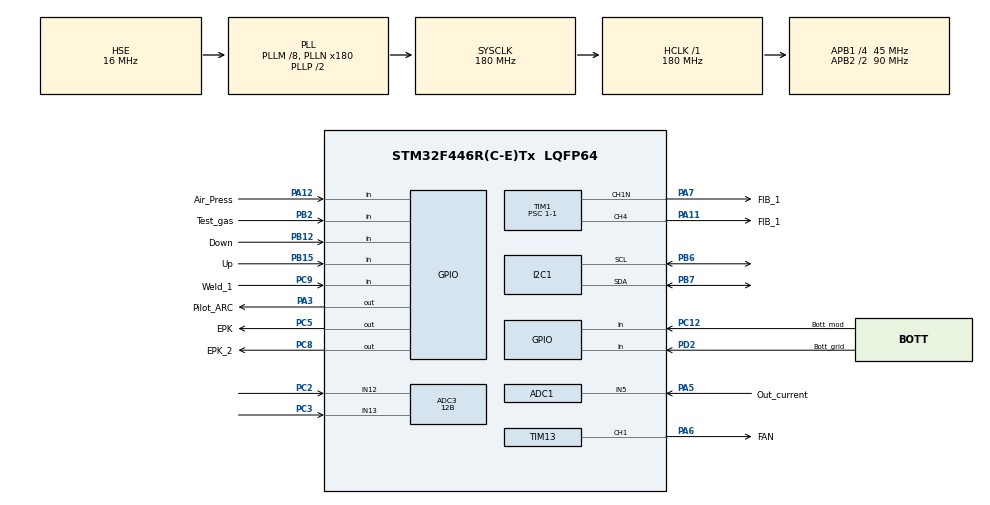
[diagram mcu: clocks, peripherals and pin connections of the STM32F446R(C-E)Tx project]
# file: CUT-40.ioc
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ADC1.Channel-5\#ChannelRegularConversion=ADC_CHANNEL_5
ADC1.ClockPrescaler=ADC_CLOCK_SYNC_PCLK_DIV4
ADC1.ContinuousConvMode=DISABLE
ADC1.DMAContinuousRequests=DISABLE
ADC1.DataAlign=ADC_DATAALIGN_RIGHT
ADC1.DiscontinuousConvMode=DISABLE
ADC1.EOCSelection=ADC_EOC_SINGLE_CONV
ADC1.EnableAnalogWatchDog=false
ADC1.ExternalTrigConvEdge=ADC_EXTERNALTRIGCONVEDGE_NONE
ADC1.InjNumberOfConversion=0
ADC1.NbrOfConversion=1
ADC1.NbrOfConversionFlag=1
ADC1.Rank-5\#ChannelRegularConversion=1
ADC1.Resolution=ADC_RESOLUTION_12B
ADC1.SamplingTime-5\#ChannelRegularConversion=ADC_SAMPLETIME_3CYCLES
ADC1.ScanConvMode=ENABLE
ADC1.master=1
ADC3.Channel-0\#ChannelRegularConversion=ADC_CHANNEL_12
ADC3.Channel-2\#ChannelInjectedConversion=ADC_CHANNEL_12
ADC3.Channel-3\#ChannelInjectedConversion=ADC_CHANNEL_13
ADC3.ClockPrescaler=ADC_CLOCK_SYNC_PCLK_DIV4
ADC3.ContinuousConvMode=DISABLE
ADC3.DMAContinuousRequests=DISABLE
ADC3.DataAlign=ADC_DATAALIGN_RIGHT
ADC3.DiscontinuousConvMode=DISABLE
ADC3.EOCSelection=ADC_EOC_SINGLE_CONV
ADC3.EnableAnalogWatchDog=false
ADC3.ExternalTrigConvEdge=ADC_EXTERNALTRIGCONVEDGE_NONE
ADC3.InjNumberOfConversion=2
ADC3.InjectedOffset-2\#ChannelInjectedConversion=0
ADC3.InjectedOffset-3\#ChannelInjectedConversion=0
ADC3.NbrOfConversion=1
ADC3.NbrOfConversionFlag=1
ADC3.Rank-0\#ChannelRegularConversion=1
ADC3.Rank-2\#ChannelInjectedConversion=1
ADC3.Rank-3\#ChannelInjectedConversion=2
ADC3.Resolution=ADC_RESOLUTION_12B
ADC3.SamplingTime-0\#ChannelRegularConversion=ADC_SAMPLETIME_3CYCLES
ADC3.SamplingTime-2\#ChannelInjectedConversion=ADC_SAMPLETIME_3CYCLES
ADC3.SamplingTime-3\#ChannelInjectedConversion=ADC_SAMPLETIME_3CYCLES
ADC3.ScanConvMode=ENABLE
I2C1.I2C_Mode=I2C_Fast
Mcu.Family=STM32F4
Mcu.Name=STM32F446R(C-E)Tx
Mcu.Package=LQFP64
NVIC.PriorityGroup=NVIC_PRIORITYGROUP_4
NVIC.TIM1_CC_IRQn=true\:0\:0\:false\:false\:true\:true
NVIC.TIM1_TRG_COM_TIM11_IRQn=true\:0\:0\:false\:false\:true\:true
NVIC.TIM4_IRQn=true\:0\:0\:false\:false\:true\:true
NVIC.TIM6_DAC_IRQn=true\:0\:0\:false\:false\:true\:true
PA11.GPIO_Label=FIB_1
PA11.Signal=S_TIM1_CH4
PA12.GPIO_Label=Air_Press
PA12.GPIO_PuPd=GPIO_PULLUP
PA12.Signal=GPIO_Input
PA13.Mode=Serial_Wire
PA13.Signal=SYS_JTMS-SWDIO
PA14.Mode=Serial_Wire
PA14.Signal=SYS_JTCK-SWCLK
PA3.GPIO_Label=Pilot_ARC
PA3.GPIO_PuPd=GPIO_PULLDOWN
PA3.Signal=GPIO_Output
PA5.GPIO_Label=Out_current
PA5.Signal=ADCx_IN5
PA6.GPIO_Label=FAN
PA6.Signal=S_TIM13_CH1
PA7.GPIO_Label=FIB_1
PA7.Mode=PWM Generation1 CH1N
PA7.Signal=TIM1_CH1N
PB12.GPIO_Label=Down
PB12.Signal=GPIO_Input
PB15.GPIO_Label=Up
PB15.Signal=GPIO_Input
PB2.GPIO_Label=Test_gas
PB2.Signal=GPIO_Input
PB6.Mode=I2C
PB6.Signal=I2C1_SCL
PB7.Mode=I2C
PB7.Signal=I2C1_SDA
PC12.GPIO_Label=Bott_mod
PC12.GPIO_PuPd=GPIO_PULLUP
PC12.Signal=GPIO_Input
PC2.Signal=ADCx_IN12
PC3.Signal=ADCx_IN13
PC5.GPIO_Label=EPK
PC5.GPIO_PuPd=GPIO_PULLDOWN
PC5.Signal=GPIO_Output
PC8.GPIO_Label=EPK_2
PC8.GPIO_PuPd=GPIO_PULLDOWN
PC8.Signal=GPIO_Output
PC9.GPIO_Label=Weld_1
PC9.GPIO_PuPd=GPIO_PULLUP
PC9.Signal=GPIO_Input
PD2.GPIO_Label=Bott_grid
PD2.GPIO_PuPd=GPIO_PULLUP
PD2.Signal=GPIO_Input
PH0-OSC_IN.Mode=HSE-External-Oscillator
PH0-OSC_IN.Signal=RCC_OSC_IN
PH1-OSC_OUT.Mode=HSE-External-Oscillator
PH1-OSC_OUT.Signal=RCC_OSC_OUT
ProjectManager.HeapSize=0x200
ProjectManager.StackSize=0x400
ProjectManager.TargetToolchain=MDK-ARM V5
RCC.AHBFreq_Value=180000000
RCC.APB1CLKDivider=RCC_HCLK_DIV4
RCC.APB1Freq_Value=45000000
RCC.APB1TimFreq_Value=90000000
RCC.APB2CLKDivider=RCC_HCLK_DIV2
RCC.APB2Freq_Value=90000000
RCC.APB2TimFreq_Value=180000000
RCC.CortexFreq_Value=180000000
RCC.HCLKFreq_Value=180000000
RCC.HSE_VALUE=16000000
RCC.LSE_VALUE=32000
RCC.PLLM=8
RCC.PLLN=180
RCC.PLLSourceVirtual=RCC_PLLSOURCE_HSE
RCC.RCC_RTC_Clock_SourceVirtual=RCC_RTCCLKSOURCE_HSE_DIV2
RCC.SYSCLKFreq_VALUE=180000000
RCC.SYSCLKSource=RCC_SYSCLKSOURCE_PLLCLK
RCC.USBFreq_Value=180000000
RCC.VCOOutputFreq_Value=360000000
SH.ADCx_IN12.0=ADC3_IN12,IN12
SH.ADCx_IN13.0=ADC3_IN13,IN13
SH.ADCx_IN5.0=ADC1_IN5,IN5
SH.S_TIM13_CH1.0=TIM13_CH1,PWM Generation1 CH1
SH.S_TIM1_CH4.0=TIM1_CH4,PWM Generation4 CH4
TIM1.Channel-PWM\ Generation1\ CH1N=TIM_CHANNEL_1
TIM1.Channel-PWM\ Generation4\ CH4=TIM_CHANNEL_4
TIM1.CounterMode=TIM_COUNTERMODE_CENTERALIGNED1
TIM1.OCMode_PWM-PWM\ Generation1\ CH1N=TIM_OCMODE_PWM2
TIM1.Period=1800-1
TIM1.Prescaler=1-1
TIM1.TIM_MasterOutputTrigger=TIM_TRGO_UPDATE
TIM13.Channel=TIM_CHANNEL_1
TIM13.Period=1000
TIM13.Prescaler=40
TIM4.Period=10000
TIM4.Prescaler=4500
TIM6.Period=10000
TIM6.Prescaler=4500
VP_TIM13_VS_ClockSourceINT.Mode=Enable_Timer
VP_TIM4_VS_ClockSourceINT.Mode=Internal
VP_TIM6_VS_ClockSourceINT.Mode=Enable_Timer
board=ADI-315PAC_1.0

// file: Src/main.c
/**
  ******************************************************************************
  * @file           : main.c
  * @brief          : Main program body
  ******************************************************************************
  ** This notice applies to any and all portions of this file
  * that are not between comment pairs USER CODE BEGIN and
  * USER CODE END. Other portions of this file, whether
  * inserted by the user or by software development tools
  * are owned by their respective copyright owners.
  *
  * COPYRIGHT(c) 2023 STMicroelectronics
  *
  * Redistribution and use in source and binary forms, with or without modification,
  * are permitted provided that the following conditions are met:
  *   1. Redistributions of source code must retain the above copyright notice,
  *      this list of conditions and the following disclaimer.
  *   2. Redistributions in binary form must reproduce the above copyright notice,
  *      this list of conditions and the following disclaimer in the documentation
  *      and/or other materials provided with the distribution.
  *   3. Neither the name of STMicroelectronics nor the names of its contributors
  *      may be used to endorse or promote products derived from this software
  *      without specific prior written permission.
  *
  * THIS SOFTWARE IS PROVIDED BY THE COPYRIGHT HOLDERS AND CONTRIBUTORS "AS IS"
  * AND ANY EXPRESS OR IMPLIED WARRANTIES, INCLUDING, BUT NOT LIMITED TO, THE
  * IMPLIED WARRANTIES OF MERCHANTABILITY AND FITNESS FOR A PARTICULAR PURPOSE ARE
  * DISCLAIMED. IN NO EVENT SHALL THE COPYRIGHT HOLDER OR CONTRIBUTORS BE LIABLE
  * FOR ANY DIRECT, INDIRECT, INCIDENTAL, SPECIAL, EXEMPLARY, OR CONSEQUENTIAL
  * DAMAGES (INCLUDING, BUT NOT LIMITED TO, PROCUREMENT OF SUBSTITUTE GOODS OR
  * SERVICES; LOSS OF USE, DATA, OR PROFITS; OR BUSINESS INTERRUPTION) HOWEVER
  * CAUSED AND ON ANY THEORY OF LIABILITY, WHETHER IN CONTRACT, STRICT LIABILITY,
  * OR TORT (INCLUDING NEGLIGENCE OR OTHERWISE) ARISING IN ANY WAY OUT OF THE USE
  * OF THIS SOFTWARE, EVEN IF ADVISED OF THE POSSIBILITY OF SUCH DAMAGE.
  *
  ******************************************************************************
  */
#include "main.h"
#include "stm32f4xx_hal.h"
#include "adc.h"
#include "i2c.h"
#include "tim.h"
#include "gpio.h"

/* USER CODE BEGIN Includes */
#include "lcd.h"
#include "Butt_hand.h"
#include "Lcd_func.h"
#include "tech_process.h"
#include "Other_func.h"
//test commit

/* USER CODE END Includes */

/* USER CODE BEGIN PV */
	uint16_t namber_par_weld;
	uint16_t language=0;    // 0>>UA  1>>RU  2>>EN

	// LCD lable flag

	uint16_t TemprHIDE_lable_flag=0;
	uint16_t LOW_presure_lable_flag=0;
  uint16_t Torch_Error_lable_flag=0;
  uint16_t Cut_Grid_lable_flag=0; // 1>>CUT 0>>GRID
  uint16_t PULSE=100;

  uint16_t cut [CUT_PAR_QUANITY] = {1,0,1}; // CUT parameters

uint32_t B_2;

/* Private variables ---------------------------------------------------------*/
uint32_t cut_but_4t[2] = {0,0};

uint32_t time_dinam_post_flov;
/* USER CODE END PV */

void SystemClock_Config(void);

/* USER CODE BEGIN PFP */
/* Private function prototypes -----------------------------------------------*/

/* USER CODE END PFP */

int main(void)
{

  /* MCU Configuration----------------------------------------------------------*/

  /* Reset of all peripherals, Initializes the Flash interface and the Systick. */
  HAL_Init();

  /* Configure the system clock */
  SystemClock_Config();

  /* Initialize all configured peripherals */
  MX_GPIO_Init();
  MX_ADC1_Init();
  MX_TIM13_Init();
  MX_TIM4_Init();
  MX_TIM6_Init();
  MX_I2C1_Init();
  MX_TIM1_Init();
  MX_ADC3_Init();
  /* USER CODE BEGIN 2 */

   HAL_Delay(100);

	 Lcd_begin_Paton();
	 Switch_language();
   Lcd_static_line();
	 EEprom_Read(cut);

   TIM1->CCR4 = 1800 - 100;// set start pulses
	 TIM1->CCR1 = 100;// set start pulses
	 HAL_TIM_Base_Start(&htim1);// Run base of timer 1

  /* USER CODE END 2 */

  /* Infinite loop */
  while (1)
  {

  /* USER CODE BEGIN 3 */

	B_2=ADC3->JDR1;

	Butt_scan(cut);
	Fix_weld_value();
  Lcd_update (cut);
	Tempr_FANspeed_flagHIDE();

	if (cut[0]==1)  //2T
	 {
		 CUT_2T_procces();
	 }

	if (cut[0]==2)  //4T
	 {
		 CUT_4T_procces();
	 }

   	if ((HAL_GetTick()-time_dinam_post_flov)>(60*1000))
			{
				HAL_GPIO_WritePin(EPK_GPIO_Port,EPK_Pin, GPIO_PIN_RESET);
			}

	 if(HAL_GPIO_ReadPin(Air_Press_GPIO_Port, Air_Press_Pin))
	 {
		 LOW_presure_lable_flag=1;
	 }
	 else
	 {
		 LOW_presure_lable_flag=0;
	 }

  }
  /* USER CODE END 3 */

}

void SystemClock_Config(void)
{

  RCC_OscInitTypeDef RCC_OscInitStruct;
  RCC_ClkInitTypeDef RCC_ClkInitStruct;

    /**Configure the main internal regulator output voltage
    */
  __HAL_RCC_PWR_CLK_ENABLE();

  __HAL_PWR_VOLTAGESCALING_CONFIG(PWR_REGULATOR_VOLTAGE_SCALE1);

    /**Initializes the CPU, AHB and APB busses clocks
    */
  RCC_OscInitStruct.OscillatorType = RCC_OSCILLATORTYPE_HSE;
  RCC_OscInitStruct.HSEState = RCC_HSE_ON;
  RCC_OscInitStruct.PLL.PLLState = RCC_PLL_ON;
  RCC_OscInitStruct.PLL.PLLSource = RCC_PLLSOURCE_HSE;
  RCC_OscInitStruct.PLL.PLLM = 8;
  RCC_OscInitStruct.PLL.PLLN = 180;
  RCC_OscInitStruct.PLL.PLLP = RCC_PLLP_DIV2;
  RCC_OscInitStruct.PLL.PLLQ = 2;
  RCC_OscInitStruct.PLL.PLLR = 2;
  if (HAL_RCC_OscConfig(&RCC_OscInitStruct) != HAL_OK)
  {
    _Error_Handler(__FILE__, __LINE__);
  }

    /**Activate the Over-Drive mode
    */
  if (HAL_PWREx_EnableOverDrive() != HAL_OK)
  {
    _Error_Handler(__FILE__, __LINE__);
  }

    /**Initializes the CPU, AHB and APB busses clocks
    */
  RCC_ClkInitStruct.ClockType = RCC_CLOCKTYPE_HCLK|RCC_CLOCKTYPE_SYSCLK
                              |RCC_CLOCKTYPE_PCLK1|RCC_CLOCKTYPE_PCLK2;
  RCC_ClkInitStruct.SYSCLKSource = RCC_SYSCLKSOURCE_PLLCLK;
  RCC_ClkInitStruct.AHBCLKDivider = RCC_SYSCLK_DIV1;
  RCC_ClkInitStruct.APB1CLKDivider = RCC_HCLK_DIV4;
  RCC_ClkInitStruct.APB2CLKDivider = RCC_HCLK_DIV2;

  if (HAL_RCC_ClockConfig(&RCC_ClkInitStruct, FLASH_LATENCY_5) != HAL_OK)
  {
    _Error_Handler(__FILE__, __LINE__);
  }

    /**Configure the Systick interrupt time
    */
  HAL_SYSTICK_Config(HAL_RCC_GetHCLKFreq()/1000);

    /**Configure the Systick
    */
  HAL_SYSTICK_CLKSourceConfig(SYSTICK_CLKSOURCE_HCLK);

  /* SysTick_IRQn interrupt configuration */
  HAL_NVIC_SetPriority(SysTick_IRQn, 0, 0);
}

void _Error_Handler(char *file, int line)
{
  while(1)
  {
  }
}

/************************ (C) COPYRIGHT STMicroelectronics *****END OF FILE****/
